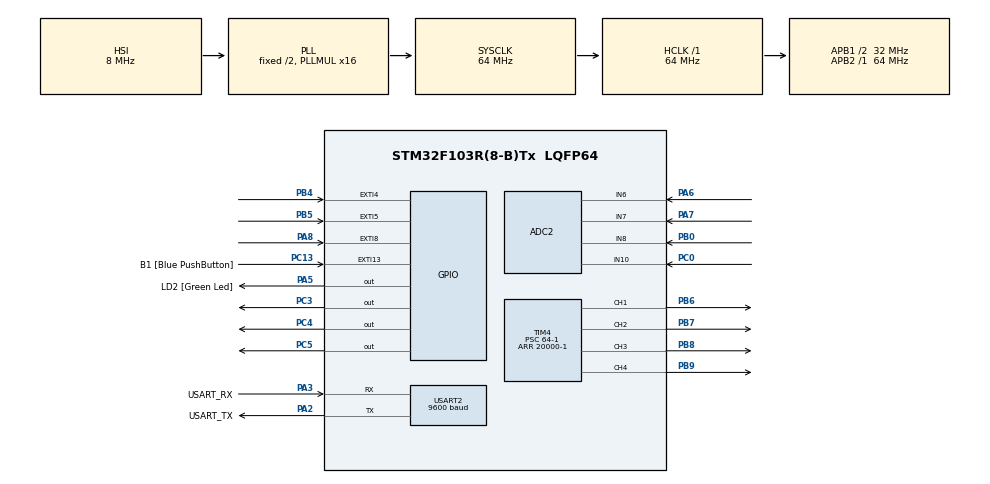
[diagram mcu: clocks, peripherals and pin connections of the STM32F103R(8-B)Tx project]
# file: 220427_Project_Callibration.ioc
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ADC2.Channel-0\#ChannelRegularConversion=ADC_CHANNEL_6
ADC2.Channel-1\#ChannelRegularConversion=ADC_CHANNEL_7
ADC2.Channel-2\#ChannelRegularConversion=ADC_CHANNEL_8
ADC2.Channel-3\#ChannelRegularConversion=ADC_CHANNEL_10
ADC2.ContinuousConvMode=DISABLE
ADC2.DiscontinuousConvMode=ENABLE
ADC2.NbrOfConversion=4
ADC2.NbrOfConversionFlag=1
ADC2.Rank-0\#ChannelRegularConversion=1
ADC2.Rank-1\#ChannelRegularConversion=2
ADC2.Rank-2\#ChannelRegularConversion=3
ADC2.Rank-3\#ChannelRegularConversion=4
ADC2.SamplingTime-0\#ChannelRegularConversion=ADC_SAMPLETIME_239CYCLES_5
ADC2.SamplingTime-1\#ChannelRegularConversion=ADC_SAMPLETIME_239CYCLES_5
ADC2.SamplingTime-2\#ChannelRegularConversion=ADC_SAMPLETIME_239CYCLES_5
ADC2.SamplingTime-3\#ChannelRegularConversion=ADC_SAMPLETIME_239CYCLES_5
Mcu.Family=STM32F1
Mcu.Name=STM32F103R(8-B)Tx
Mcu.Package=LQFP64
NVIC.EXTI15_10_IRQn=true\:0\:0\:false\:false\:true\:true\:true\:true
NVIC.EXTI4_IRQn=true\:0\:0\:false\:false\:true\:true\:true\:true
NVIC.EXTI9_5_IRQn=true\:0\:0\:false\:false\:true\:true\:true\:true
NVIC.PriorityGroup=NVIC_PRIORITYGROUP_4
PA13.GPIO_Label=TMS
PA13.Mode=Serial_Wire
PA13.Signal=SYS_JTMS-SWDIO
PA14.GPIO_Label=TCK
PA14.Mode=Serial_Wire
PA14.Signal=SYS_JTCK-SWCLK
PA2.GPIO_Label=USART_TX
PA2.GPIO_Mode=GPIO_MODE_AF_PP
PA2.GPIO_PuPd=GPIO_NOPULL
PA2.GPIO_Speed=GPIO_SPEED_FREQ_LOW
PA2.Mode=Asynchronous
PA2.Signal=USART2_TX
PA3.GPIO_Label=USART_RX
PA3.GPIO_Mode=GPIO_MODE_AF_PP
PA3.GPIO_PuPd=GPIO_NOPULL
PA3.GPIO_Speed=GPIO_SPEED_FREQ_LOW
PA3.Mode=Asynchronous
PA3.Signal=USART2_RX
PA5.GPIO_Label=LD2 [Green Led]
PA5.GPIO_ModeDefaultOutputPP=GPIO_MODE_OUTPUT_PP
PA5.GPIO_PuPd=GPIO_NOPULL
PA5.GPIO_Speed=GPIO_SPEED_FREQ_LOW
PA5.Signal=GPIO_Output
PA6.Signal=ADCx_IN6
PA7.Signal=ADCx_IN7
PA8.Signal=GPXTI8
PB0.Signal=ADCx_IN8
PB3.GPIO_Label=SWO
PB3.Signal=SYS_JTDO-TRACESWO
PB4.Signal=GPXTI4
PB5.Signal=GPXTI5
PB6.Signal=S_TIM4_CH1
PB7.Signal=S_TIM4_CH2
PB8.Signal=S_TIM4_CH3
PB9.Signal=S_TIM4_CH4
PC0.Signal=ADCx_IN10
PC13-TAMPER-RTC.GPIO_Label=B1 [Blue PushButton]
PC13-TAMPER-RTC.GPIO_PuPd=GPIO_NOPULL
PC13-TAMPER-RTC.Signal=GPXTI13
PC14-OSC32_IN.Mode=LSE-External-Oscillator
PC14-OSC32_IN.Signal=RCC_OSC32_IN
PC15-OSC32_OUT.Mode=LSE-External-Oscillator
PC15-OSC32_OUT.Signal=RCC_OSC32_OUT
PC3.Signal=GPIO_Output
PC4.Signal=GPIO_Output
PC5.Signal=GPIO_Output
PD0-OSC_IN.Mode=HSE-External-Clock-Source
PD0-OSC_IN.Signal=RCC_OSC_IN
PD1-OSC_OUT.Mode=HSE-External-Clock-Source
PD1-OSC_OUT.Signal=RCC_OSC_OUT
ProjectManager.HeapSize=0x200
ProjectManager.StackSize=0x400
ProjectManager.TargetToolchain=STM32CubeIDE
RCC.ADCPresc=RCC_ADCPCLK2_DIV8
RCC.AHBFreq_Value=64000000
RCC.APB1CLKDivider=RCC_HCLK_DIV2
RCC.APB1Freq_Value=32000000
RCC.APB1TimFreq_Value=64000000
RCC.APB2Freq_Value=64000000
RCC.APB2TimFreq_Value=64000000
RCC.HCLKFreq_Value=64000000
RCC.PLLMUL=RCC_PLL_MUL16
RCC.RTCClockSelection=RCC_RTCCLKSOURCE_LSE
RCC.SYSCLKFreq_VALUE=64000000
RCC.SYSCLKSource=RCC_SYSCLKSOURCE_PLLCLK
RCC.USBFreq_Value=64000000
SH.ADCx_IN10.0=ADC2_IN10,IN10
SH.ADCx_IN6.0=ADC2_IN6,IN6
SH.ADCx_IN7.0=ADC2_IN7,IN7
SH.ADCx_IN8.0=ADC2_IN8,IN8
SH.S_TIM4_CH1.0=TIM4_CH1,PWM Generation1 CH1
SH.S_TIM4_CH2.0=TIM4_CH2,PWM Generation2 CH2
SH.S_TIM4_CH3.0=TIM4_CH3,PWM Generation3 CH3
SH.S_TIM4_CH4.0=TIM4_CH4,PWM Generation4 CH4
TIM4.Channel-PWM\ Generation1\ CH1=TIM_CHANNEL_1
TIM4.Channel-PWM\ Generation2\ CH2=TIM_CHANNEL_2
TIM4.Channel-PWM\ Generation3\ CH3=TIM_CHANNEL_3
TIM4.Channel-PWM\ Generation4\ CH4=TIM_CHANNEL_4
TIM4.Period=20000-1
TIM4.Prescaler=64-1
TIM4.Pulse-PWM\ Generation1\ CH1=1500
TIM4.Pulse-PWM\ Generation2\ CH2=1500
TIM4.Pulse-PWM\ Generation3\ CH3=1500
TIM4.Pulse-PWM\ Generation4\ CH4=1500
USART2.BaudRate=9600
USART2.VirtualMode=VM_ASYNC
board=NUCLEO-F103RB

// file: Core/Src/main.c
/* USER CODE BEGIN Header */
/**
  ******************************************************************************
  * @file           : main.c
  * @brief          : Main program body
  ******************************************************************************
  * @attention
  *
  * Copyright (c) 2022 STMicroelectronics.
  * All rights reserved.
  *
  * This software is licensed under terms that can be found in the LICENSE file
  * in the root directory of this software component.
  * If no LICENSE file comes with this software, it is provided AS-IS.
  *
  ******************************************************************************
  */
/* USER CODE END Header */
#include "main.h"

/* USER CODE BEGIN Includes */
#include "stdio.h"
/* USER CODE END Includes */

/* USER CODE BEGIN PTD */
#ifdef __GNUC__
/* With GCC, small printf (option LD Linker->Libraries->Small printf
   set to 'Yes') calls __io_putchar() */
#define PUTCHAR_PROTOTYPE int __io_putchar(int ch)
#else
#define PUTCHAR_PROTOTYPE int fputc(int ch, FILE *f)
#endif /* __GNUC__ */
/* USER CODE END PTD */

 ADC_HandleTypeDef hadc2;

TIM_HandleTypeDef htim4;

UART_HandleTypeDef huart2;

void SystemClock_Config(void);
static void MX_GPIO_Init(void);
static void MX_USART2_UART_Init(void);
static void MX_ADC2_Init(void);
static void MX_TIM4_Init(void);

/* USER CODE BEGIN 0 */
uint16_t state[4][2000] = {0};
uint16_t compare = 0;
int idx = 0;
uint16_t preVal1;
uint16_t preVal2;
uint16_t preVal3;
uint16_t preVal4;

/* USER CODE END 0 */

int main(void)
{
  /* USER CODE BEGIN 1 */
	uint16_t adcResult1 = 0;
	uint16_t adcResult2 = 0;
	uint16_t adcResult3 = 0;
	uint16_t adcResult4 = 0;
  /* USER CODE END 1 */

  /* MCU Configuration--------------------------------------------------------*/

  /* Reset of all peripherals, Initializes the Flash interface and the Systick. */
  HAL_Init();

  /* Configure the system clock */
  SystemClock_Config();

  /* Initialize all configured peripherals */
  MX_GPIO_Init();
  MX_USART2_UART_Init();
  MX_ADC2_Init();
  MX_TIM4_Init();
  /* USER CODE BEGIN 2 */
  HAL_TIM_PWM_Start(&htim4, TIM_CHANNEL_1);
  HAL_TIM_PWM_Start(&htim4, TIM_CHANNEL_2);
  HAL_TIM_PWM_Start(&htim4, TIM_CHANNEL_3);
  HAL_TIM_PWM_Start(&htim4, TIM_CHANNEL_4);
  /* USER CODE END 2 */

  /* Infinite loop */
  /* USER CODE BEGIN WHILE */
  while (1)
    {
  	  	  if(compare ==0){
  	  		  if(state[0][0] >0){
  	  			  for(int jdx= 0 ; jdx<4; jdx++){

  	  				  for(int kdx = 0; kdx<1000; kdx++){
  	  					state[jdx][kdx] = -1;
  	  				  }
  	  			  }
  	  			  idx = 0;
  	  		  }

  	  		  HAL_ADC_Start(&hadc2);
  	  		  HAL_ADC_PollForConversion(&hadc2, 100);
  	  		  int nowVal1 = HAL_ADC_GetValue(&hadc2)*180/78;
  	  		  if(nowVal1 >1800) nowVal1 = 1800;
  	  		  if(nowVal1 >=preVal1+ 10 ||nowVal1 <=preVal1- 10) 	preVal1 = nowVal1;
  	  		  adcResult1 = preVal1+600;

  	  		  HAL_ADC_Start(&hadc2);
  	  		  HAL_ADC_PollForConversion(&hadc2, 100);
  	  		  int nowVal2 = HAL_ADC_GetValue(&hadc2)*180/78;
  	  		  if(nowVal2 >1800) nowVal2 = 1800;
  	  		  if(nowVal2 >=preVal2+ 10 ||nowVal2 <=preVal2- 10)  	preVal2 = nowVal2;
  	  		  adcResult2 = preVal2+600;

  	  		  HAL_ADC_Start(&hadc2);
  	  		  HAL_ADC_PollForConversion(&hadc2, 100);
  	  		  int nowVal3 = HAL_ADC_GetValue(&hadc2)*180/78;
  	  		  if(nowVal3 >1800) nowVal3 = 1800;
  	  		  if(nowVal3 >=preVal3+ 10 ||nowVal3 <=preVal3- 10)  	preVal3 = nowVal3;
  	  		  adcResult3 = preVal3+600;

  	  		  HAL_ADC_Start(&hadc2);
  	  		  HAL_ADC_PollForConversion(&hadc2, 100);
  	  		  int nowVal4 = HAL_ADC_GetValue(&hadc2)*180/78;
  	  		  if(nowVal4 >1800) nowVal4 = 1800;
  	  		  if(nowVal4 >=preVal4+ 10 ||nowVal4 <=preVal4- 10)  	preVal4 = nowVal4;
  	  		  adcResult4 = preVal4+600;

  	  		  htim4.Instance->CCR1 = adcResult1;
  	  		  htim4.Instance->CCR2 = adcResult2;
			  htim4.Instance->CCR3 = adcResult3;
			  htim4.Instance->CCR4 = adcResult4;
			  printf("angle 1 : %d        angle 2 : %d		angle 3 : %d\n\r",adcResult1,adcResult2,adcResult3);
  	  	  }

  	  	  else if(compare ==1){
  	  		  HAL_ADC_Start(&hadc2);
  	  		  HAL_ADC_PollForConversion(&hadc2, 100);
  	  		  int nowVal1 = HAL_ADC_GetValue(&hadc2)*180/78;
  	  		  if(nowVal1 >1800) nowVal1 = 1800;
  	  		  if(nowVal1 >=preVal1+ 10 ||nowVal1 <=preVal1- 10) 	preVal1 = nowVal1;
  	  		  adcResult1 = preVal1+600;

  	  		  HAL_ADC_Start(&hadc2);
  	  		  HAL_ADC_PollForConversion(&hadc2, 100);
  	  		  int nowVal2 = HAL_ADC_GetValue(&hadc2)*180/78;
  	  		  if(nowVal2 >1800) nowVal2 = 1800;
  	  		  if(nowVal2 >=preVal2+ 10 ||nowVal2 <=preVal2- 10)  	preVal2 = nowVal2;
  	  		  adcResult2 = preVal2+600;

  	  		  HAL_ADC_Start(&hadc2);
  	  		  HAL_ADC_PollForConversion(&hadc2, 100);
  	  		  int nowVal3 = HAL_ADC_GetValue(&hadc2)*180/78;
  	  		  if(nowVal3 >1800) nowVal3 = 1800;
  	  		  if(nowVal3 >=preVal3+ 10 ||nowVal3 <=preVal3- 10)  	preVal3 = nowVal3;
  	  		  adcResult3 = preVal3+600;

  	  		  HAL_ADC_Start(&hadc2);
  	  		  HAL_ADC_PollForConversion(&hadc2, 100);
  	  		  int nowVal4 = HAL_ADC_GetValue(&hadc2)*180/78;
  	  		  if(nowVal4 >1800) nowVal4 = 1800;
  	  		  if(nowVal4 >=preVal4+ 10 ||nowVal4 <=preVal4- 10)  	preVal4 = nowVal4;
  	  		  adcResult4 = preVal4+600;

  	  		  htim4.Instance->CCR1 = adcResult1;
  	  		  htim4.Instance->CCR2 = adcResult2;
  	  		  htim4.Instance->CCR3 = adcResult3;
  	  		  htim4.Instance->CCR4 = adcResult4;
  	  		  printf("store....\n\r\n\r");

  	  		  state[0][idx]= adcResult1;
  	  		  state[1][idx]= adcResult2;
  	  		  state[2][idx++]= adcResult3;
  	  		  state[3][idx++]= adcResult4;

  	  	 	  HAL_Delay(10);
  	  	  }

  	  	  else if(compare ==2){
  	  		  for(int jdx = 0; jdx< idx; jdx++){
  	  			  printf("replay....\n\r\n\r");
  	  	  		  htim4.Instance->CCR1 = state[0][jdx];
  	  	  		  htim4.Instance->CCR2 = state[1][jdx];
  	  	  		  htim4.Instance->CCR3 = state[2][jdx];
  	  	  		  htim4.Instance->CCR4 = state[3][jdx];

  	  			  HAL_Delay(10);
  	  		  }
  	  	  }
    /* USER CODE END WHILE */

    }
}

void SystemClock_Config(void)
{
  RCC_OscInitTypeDef RCC_OscInitStruct = {0};
  RCC_ClkInitTypeDef RCC_ClkInitStruct = {0};
  RCC_PeriphCLKInitTypeDef PeriphClkInit = {0};

  /** Initializes the RCC Oscillators according to the specified parameters
  * in the RCC_OscInitTypeDef structure.
  */
  RCC_OscInitStruct.OscillatorType = RCC_OSCILLATORTYPE_HSI;
  RCC_OscInitStruct.HSIState = RCC_HSI_ON;
  RCC_OscInitStruct.HSICalibrationValue = RCC_HSICALIBRATION_DEFAULT;
  RCC_OscInitStruct.PLL.PLLState = RCC_PLL_ON;
  RCC_OscInitStruct.PLL.PLLSource = RCC_PLLSOURCE_HSI_DIV2;
  RCC_OscInitStruct.PLL.PLLMUL = RCC_PLL_MUL16;
  if (HAL_RCC_OscConfig(&RCC_OscInitStruct) != HAL_OK)
  {
    Error_Handler();
  }

  /** Initializes the CPU, AHB and APB buses clocks
  */
  RCC_ClkInitStruct.ClockType = RCC_CLOCKTYPE_HCLK|RCC_CLOCKTYPE_SYSCLK
                              |RCC_CLOCKTYPE_PCLK1|RCC_CLOCKTYPE_PCLK2;
  RCC_ClkInitStruct.SYSCLKSource = RCC_SYSCLKSOURCE_PLLCLK;
  RCC_ClkInitStruct.AHBCLKDivider = RCC_SYSCLK_DIV1;
  RCC_ClkInitStruct.APB1CLKDivider = RCC_HCLK_DIV2;
  RCC_ClkInitStruct.APB2CLKDivider = RCC_HCLK_DIV1;

  if (HAL_RCC_ClockConfig(&RCC_ClkInitStruct, FLASH_LATENCY_2) != HAL_OK)
  {
    Error_Handler();
  }
  PeriphClkInit.PeriphClockSelection = RCC_PERIPHCLK_ADC;
  PeriphClkInit.AdcClockSelection = RCC_ADCPCLK2_DIV8;
  if (HAL_RCCEx_PeriphCLKConfig(&PeriphClkInit) != HAL_OK)
  {
    Error_Handler();
  }
}

static void MX_ADC2_Init(void)
{

  ADC_ChannelConfTypeDef sConfig = {0};

  /** Common config
  */
  hadc2.Instance = ADC2;
  hadc2.Init.ScanConvMode = ADC_SCAN_ENABLE;
  hadc2.Init.ContinuousConvMode = DISABLE;
  hadc2.Init.DiscontinuousConvMode = ENABLE;
  hadc2.Init.NbrOfDiscConversion = 1;
  hadc2.Init.ExternalTrigConv = ADC_SOFTWARE_START;
  hadc2.Init.DataAlign = ADC_DATAALIGN_RIGHT;
  hadc2.Init.NbrOfConversion = 4;
  if (HAL_ADC_Init(&hadc2) != HAL_OK)
  {
    Error_Handler();
  }

  /** Configure Regular Channel
  */
  sConfig.Channel = ADC_CHANNEL_6;
  sConfig.Rank = ADC_REGULAR_RANK_1;
  sConfig.SamplingTime = ADC_SAMPLETIME_239CYCLES_5;
  if (HAL_ADC_ConfigChannel(&hadc2, &sConfig) != HAL_OK)
  {
    Error_Handler();
  }

  /** Configure Regular Channel
  */
  sConfig.Channel = ADC_CHANNEL_7;
  sConfig.Rank = ADC_REGULAR_RANK_2;
  if (HAL_ADC_ConfigChannel(&hadc2, &sConfig) != HAL_OK)
  {
    Error_Handler();
  }

  /** Configure Regular Channel
  */
  sConfig.Channel = ADC_CHANNEL_8;
  sConfig.Rank = ADC_REGULAR_RANK_3;
  if (HAL_ADC_ConfigChannel(&hadc2, &sConfig) != HAL_OK)
  {
    Error_Handler();
  }

  /** Configure Regular Channel
  */
  sConfig.Channel = ADC_CHANNEL_10;
  sConfig.Rank = ADC_REGULAR_RANK_4;
  if (HAL_ADC_ConfigChannel(&hadc2, &sConfig) != HAL_OK)
  {
    Error_Handler();
  }

}

static void MX_TIM4_Init(void)
{

  TIM_MasterConfigTypeDef sMasterConfig = {0};
  TIM_OC_InitTypeDef sConfigOC = {0};

  htim4.Instance = TIM4;
  htim4.Init.Prescaler = 64-1;
  htim4.Init.CounterMode = TIM_COUNTERMODE_UP;
  htim4.Init.Period = 20000-1;
  htim4.Init.ClockDivision = TIM_CLOCKDIVISION_DIV1;
  htim4.Init.AutoReloadPreload = TIM_AUTORELOAD_PRELOAD_DISABLE;
  if (HAL_TIM_PWM_Init(&htim4) != HAL_OK)
  {
    Error_Handler();
  }
  sMasterConfig.MasterOutputTrigger = TIM_TRGO_RESET;
  sMasterConfig.MasterSlaveMode = TIM_MASTERSLAVEMODE_DISABLE;
  if (HAL_TIMEx_MasterConfigSynchronization(&htim4, &sMasterConfig) != HAL_OK)
  {
    Error_Handler();
  }
  sConfigOC.OCMode = TIM_OCMODE_PWM1;
  sConfigOC.Pulse = 1500;
  sConfigOC.OCPolarity = TIM_OCPOLARITY_HIGH;
  sConfigOC.OCFastMode = TIM_OCFAST_DISABLE;
  if (HAL_TIM_PWM_ConfigChannel(&htim4, &sConfigOC, TIM_CHANNEL_1) != HAL_OK)
  {
    Error_Handler();
  }
  if (HAL_TIM_PWM_ConfigChannel(&htim4, &sConfigOC, TIM_CHANNEL_2) != HAL_OK)
  {
    Error_Handler();
  }
  if (HAL_TIM_PWM_ConfigChannel(&htim4, &sConfigOC, TIM_CHANNEL_3) != HAL_OK)
  {
    Error_Handler();
  }
  if (HAL_TIM_PWM_ConfigChannel(&htim4, &sConfigOC, TIM_CHANNEL_4) != HAL_OK)
  {
    Error_Handler();
  }
  HAL_TIM_MspPostInit(&htim4);

}

static void MX_USART2_UART_Init(void)
{

  huart2.Instance = USART2;
  huart2.Init.BaudRate = 9600;
  huart2.Init.WordLength = UART_WORDLENGTH_8B;
  huart2.Init.StopBits = UART_STOPBITS_1;
  huart2.Init.Parity = UART_PARITY_NONE;
  huart2.Init.Mode = UART_MODE_TX_RX;
  huart2.Init.HwFlowCtl = UART_HWCONTROL_NONE;
  huart2.Init.OverSampling = UART_OVERSAMPLING_16;
  if (HAL_UART_Init(&huart2) != HAL_OK)
  {
    Error_Handler();
  }

}

static void MX_GPIO_Init(void)
{
  GPIO_InitTypeDef GPIO_InitStruct = {0};

  /* GPIO Ports Clock Enable */
  __HAL_RCC_GPIOC_CLK_ENABLE();
  __HAL_RCC_GPIOD_CLK_ENABLE();
  __HAL_RCC_GPIOA_CLK_ENABLE();
  __HAL_RCC_GPIOB_CLK_ENABLE();

  /*Configure GPIO pin Output Level */
  HAL_GPIO_WritePin(GPIOC, GPIO_PIN_3|GPIO_PIN_4|GPIO_PIN_5, GPIO_PIN_RESET);

  /*Configure GPIO pin Output Level */
  HAL_GPIO_WritePin(LD2_GPIO_Port, LD2_Pin, GPIO_PIN_RESET);

  /*Configure GPIO pin : B1_Pin */
  GPIO_InitStruct.Pin = B1_Pin;
  GPIO_InitStruct.Mode = GPIO_MODE_IT_RISING;
  GPIO_InitStruct.Pull = GPIO_NOPULL;
  HAL_GPIO_Init(B1_GPIO_Port, &GPIO_InitStruct);

  /*Configure GPIO pins : PC3 PC4 PC5 */
  GPIO_InitStruct.Pin = GPIO_PIN_3|GPIO_PIN_4|GPIO_PIN_5;
  GPIO_InitStruct.Mode = GPIO_MODE_OUTPUT_PP;
  GPIO_InitStruct.Pull = GPIO_NOPULL;
  GPIO_InitStruct.Speed = GPIO_SPEED_FREQ_LOW;
  HAL_GPIO_Init(GPIOC, &GPIO_InitStruct);

  /*Configure GPIO pin : LD2_Pin */
  GPIO_InitStruct.Pin = LD2_Pin;
  GPIO_InitStruct.Mode = GPIO_MODE_OUTPUT_PP;
  GPIO_InitStruct.Pull = GPIO_NOPULL;
  GPIO_InitStruct.Speed = GPIO_SPEED_FREQ_LOW;
  HAL_GPIO_Init(LD2_GPIO_Port, &GPIO_InitStruct);

  /*Configure GPIO pin : PA8 */
  GPIO_InitStruct.Pin = GPIO_PIN_8;
  GPIO_InitStruct.Mode = GPIO_MODE_IT_RISING;
  GPIO_InitStruct.Pull = GPIO_NOPULL;
  HAL_GPIO_Init(GPIOA, &GPIO_InitStruct);

  /*Configure GPIO pins : PB4 PB5 */
  GPIO_InitStruct.Pin = GPIO_PIN_4|GPIO_PIN_5;
  GPIO_InitStruct.Mode = GPIO_MODE_IT_RISING;
  GPIO_InitStruct.Pull = GPIO_NOPULL;
  HAL_GPIO_Init(GPIOB, &GPIO_InitStruct);

  /* EXTI interrupt init*/
  HAL_NVIC_SetPriority(EXTI4_IRQn, 0, 0);
  HAL_NVIC_EnableIRQ(EXTI4_IRQn);

  HAL_NVIC_SetPriority(EXTI9_5_IRQn, 0, 0);
  HAL_NVIC_EnableIRQ(EXTI9_5_IRQn);

  HAL_NVIC_SetPriority(EXTI15_10_IRQn, 0, 0);
  HAL_NVIC_EnableIRQ(EXTI15_10_IRQn);

}

/* USER CODE BEGIN 4 */
PUTCHAR_PROTOTYPE
{
  /* Place your implementation of fputc here */
  /* e.g. write a character to the USART1 and Loop until the end of transmission */
  HAL_UART_Transmit(&huart2,(uint8_t *)&ch, 1, 0xFFFF);

  return ch;
}

void HAL_GPIO_EXTI_Callback(uint16_t GPIO_Pin){

	if(GPIO_Pin == GPIO_PIN_8){
		compare =0;
		HAL_GPIO_WritePin(GPIOC,GPIO_PIN_3,GPIO_PIN_SET);
		HAL_GPIO_WritePin(GPIOC,GPIO_PIN_4,GPIO_PIN_RESET);
		HAL_GPIO_WritePin(GPIOC,GPIO_PIN_5,GPIO_PIN_RESET);
	}
	if(GPIO_Pin == GPIO_PIN_4){
		compare = 1;
		HAL_GPIO_WritePin(GPIOC,GPIO_PIN_3,GPIO_PIN_RESET);
		HAL_GPIO_WritePin(GPIOC,GPIO_PIN_4,GPIO_PIN_SET);
		HAL_GPIO_WritePin(GPIOC,GPIO_PIN_5,GPIO_PIN_RESET);
	}
	if(GPIO_Pin == GPIO_PIN_5){
		compare = 2;
		HAL_GPIO_WritePin(GPIOC,GPIO_PIN_3,GPIO_PIN_RESET);
		HAL_GPIO_WritePin(GPIOC,GPIO_PIN_4,GPIO_PIN_RESET);
		HAL_GPIO_WritePin(GPIOC,GPIO_PIN_5,GPIO_PIN_SET);
	}
}
/* USER CODE END 4 */

void Error_Handler(void)
{
  __disable_irq();
  while (1)
  {
  }
}
